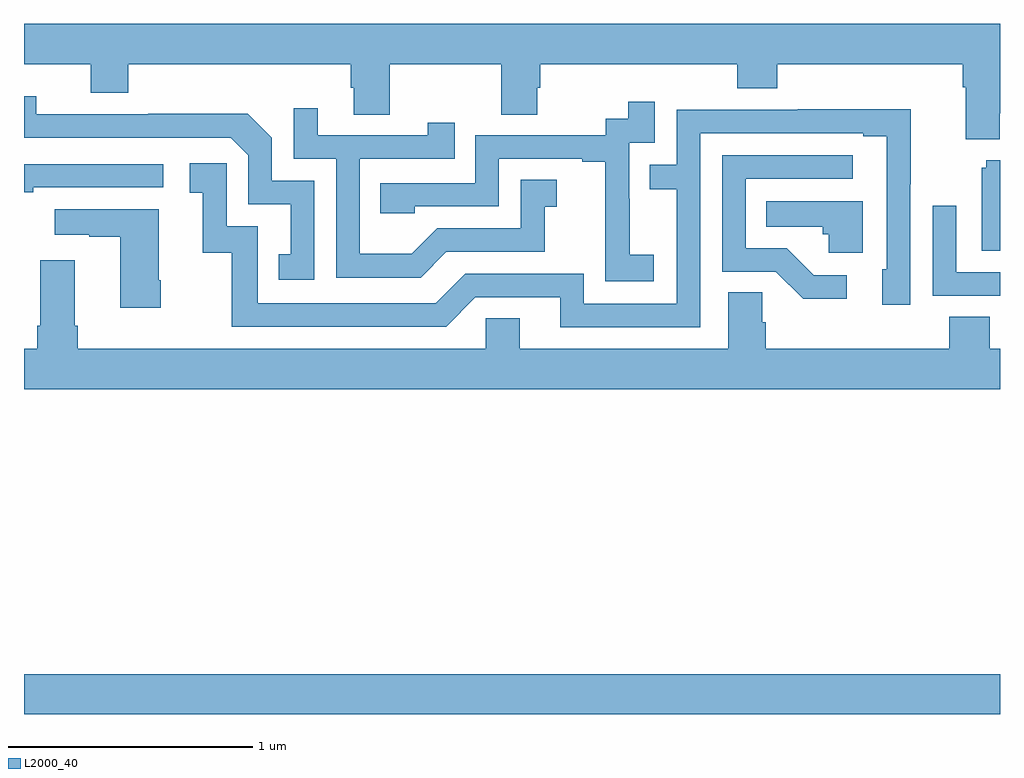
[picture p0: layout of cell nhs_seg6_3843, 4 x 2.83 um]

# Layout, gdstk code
import gdstk
lib = gdstk.Library(unit=1e-6, precision=1e-09)
def R(c, l, rs):  # rectangles x0, y0, x1, y1
    for r in rs: c.add(gdstk.rectangle(r[:2], r[2:], *l))
def P(c, l, *ps):  # polygons
    for p in ps: c.add(gdstk.Polygon(p, *l))
L2000_40 = (2000, 40)

nhs_seg6_3843 = lib.new_cell('nhs_seg6_3843')
R(nhs_seg6_3843, L2000_40, [(337,977.972,341,978.136)])
P(nhs_seg6_3843, L2000_40, [(340.999,980.434),(341,980.434),(341,980.8),(337,980.8),(337,980.636),(337.274,980.636),(337.274,980.519),(337.427,980.519),(337.427,980.636),(338.339,980.636),(338.339,980.538),(338.351,980.538),(338.351,980.428),(338.499,980.428),(338.499,980.636),(338.956,980.636),(338.956,980.428),(339.103,980.428),(339.103,980.538),(339.116,980.538),(339.116,980.636),(339.923,980.636),(339.923,980.537),(340.088,980.537),(340.088,980.636),(340.847,980.636),(340.847,980.54),(340.859,980.54),(340.859,980.327),(340.999,980.327)],
  [(338.19,980.157),(338.016,980.157),(338.016,980.334),(337.918,980.432),(337.51,980.432),(337.51,980.43),(337.05,980.43),(337.05,980.503),(337,980.503),(337,980.334),(337.848,980.334),(337.92,980.262),(337.92,980.061),(338.093,980.061),(338.093,979.857),(338.044,979.857),(338.044,979.752),(338.19,979.752)],
  [(339.58,979.855),(339.482,979.855),(339.482,980.084),(339.48,980.084),(339.48,980.313),(339.585,980.313),(339.585,980.482),(339.477,980.482),(339.477,980.412),(339.384,980.412),(339.384,980.343),(338.85,980.343),(338.85,980.148),(338.461,980.148),(338.461,980.025),(338.601,980.025),(338.601,980.052),(338.946,980.052),(338.946,980.247),(339.287,980.247),(339.287,980.235),(339.383,980.235),(339.383,979.951),(339.382,979.951),(339.382,979.745),(339.58,979.745)],
  [(338.731,979.866),(339.135,979.866),(339.135,980.051),(339.184,980.051),(339.184,980.161),(339.036,980.161),(339.036,979.962),(338.694,979.962),(338.59,979.858),(338.376,979.858),(338.376,980.247),(338.765,980.247),(338.765,980.395),(338.654,980.395),(338.654,980.343),(338.203,980.343),(338.203,980.455),(338.106,980.455),(338.106,980.247),(338.28,980.247),(338.28,979.761),(338.626,979.761)],
  [(339.771,980.352),(340.439,980.352),(340.439,980.34),(340.536,980.34),(340.536,979.794),(340.517,979.794),(340.517,979.65),(340.632,979.65),(340.632,980.143),(340.635,980.143),(340.635,980.45),(340.171,980.45),(340.171,980.448),(339.675,980.448),(339.675,980.223),(339.565,980.223),(339.565,980.122),(339.675,980.122),(339.675,979.653),(339.294,979.653),(339.294,979.776),(338.808,979.776),(338.688,979.656),(337.959,979.656),(337.959,979.971),(337.83,979.971),(337.83,980.23),(337.68,980.23),(337.68,980.109),(337.733,980.109),(337.733,979.863),(337.851,979.863),(337.851,979.56),(338.73,979.56),(338.85,979.68),(339.197,979.68),(339.197,979.557),(339.771,979.557)],
  [(340.372,979.77),(340.237,979.77),(340.126,979.881),(339.957,979.881),(339.957,980.166),(340.396,980.166),(340.396,980.262),(339.861,980.262),(339.861,979.785),(340.08,979.785),(340.193,979.673),(340.372,979.673)],
  [(341,980.242),(340.943,980.242),(340.943,980.211),(340.925,980.211),(340.925,979.871),(341,979.871)],
  [(337.037,980.13),(337.57,980.13),(337.57,980.226),(337,980.226),(337,980.11),(337.037,980.11)],
  [(340.438,980.074),(340.042,980.074),(340.042,979.97),(340.273,979.97),(340.273,979.938),(340.299,979.938),(340.299,979.862),(340.438,979.862)],
  [(341,979.782),(340.821,979.782),(340.821,980.056),(340.725,980.056),(340.725,979.686),(341,979.686)],
  [(337.56,979.75),(337.552,979.75),(337.552,980.041),(337.125,980.041),(337.125,979.937),(337.268,979.937),(337.268,979.927),(337.394,979.927),(337.394,979.638),(337.56,979.638)],
  [(341,979.468),(340.958,979.468),(340.958,979.601),(340.793,979.601),(340.793,979.468),(340.04,979.468),(340.04,979.577),(340.026,979.577),(340.026,979.7),(339.887,979.7),(339.887,979.468),(339.031,979.468),(339.031,979.595),(338.892,979.595),(338.892,979.468),(337.22,979.468),(337.22,979.564),(337.207,979.564),(337.207,979.831),(337.067,979.831),(337.067,979.564),(337.055,979.564),(337.055,979.468),(337,979.468),(337,979.304),(341,979.304)])

lib.write_gds('nhs_seg6_3843.gds')
